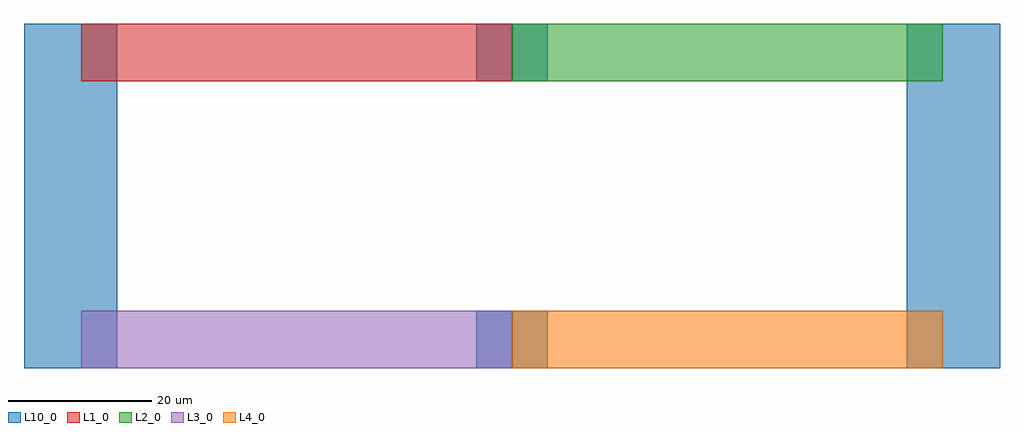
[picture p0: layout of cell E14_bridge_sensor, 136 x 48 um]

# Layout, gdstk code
import gdstk
lib = gdstk.Library(unit=1e-6, precision=1e-09)
def R(c, l, rs):  # rectangles x0, y0, x1, y1
    for r in rs: c.add(gdstk.rectangle(r[:2], r[2:], *l))
L1_0 = (1, 0)
L2_0 = (2, 0)
L3_0 = (3, 0)
L4_0 = (4, 0)
L10_0 = (10, 0)

e14_bridge_sensor = lib.new_cell('E14_bridge_sensor')
R(e14_bridge_sensor, L1_0, [(0,40,60,48)])
R(e14_bridge_sensor, L2_0, [(60,40,120,48)])
R(e14_bridge_sensor, L3_0, [(0,0,60,8)])
R(e14_bridge_sensor, L4_0, [(60,0,120,8)])
R(e14_bridge_sensor, L10_0, [(-8,0,5,48), (55,0,65,8), (115,0,128,48), (55,40,65,48)])

lib.write_gds('E14_bridge_sensor.gds')
